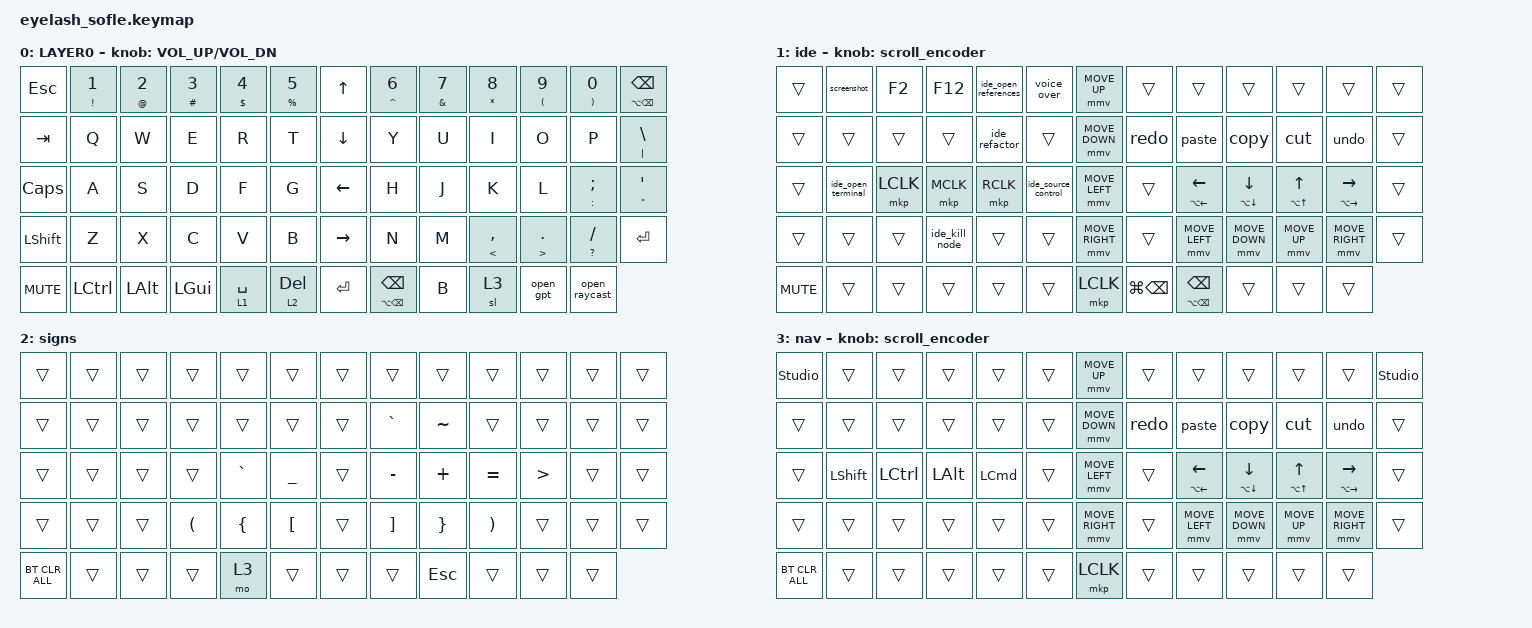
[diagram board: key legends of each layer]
#define ZMK_POINTING_DEFAULT_MOVE_VAL 1200  // 600
#define ZMK_POINTING_DEFAULT_SCRL_VAL 25   // 10

#include <input/processors.dtsi>
#include <zephyr/dt-bindings/input/input-event-codes.h>
#include <behaviors.dtsi>
#include <dt-bindings/zmk/bt.h>
#include <dt-bindings/zmk/keys.h>
#include <dt-bindings/zmk/pointing.h>

&mmv_input_listener { input-processors = <&zip_xy_scaler 2 1>; };

&msc_input_listener { input-processors = <&zip_scroll_scaler 2 1>; };

&msc {
    acceleration-exponent = <1>;      // 0
    time-to-max-speed-ms = <100>;       // 300
    delay-ms = <0>;                   // 0
};

&mmv {
    time-to-max-speed-ms = <500>;
    acceleration-exponent = <1>;
    trigger-period-ms = <16>;
};

&mt {
    tapping-term-ms = <190>;
    flavor = "tap-preferred";
    hold-trigger-on-release;
    quick-tap-ms = <130>;
};

&lt {
    tapping-term-ms = <170>;
    quick-tap-ms = <130>;
    hold-trigger-on-release;
};

/ {
    scroll_encoder: scroll_encoder {
        compatible = "zmk,behavior-sensor-rotate";
        #sensor-binding-cells = <0>;
        bindings = <&msc SCRL_DOWN>, <&msc SCRL_UP>;

        tap-ms = <100>;
    };

    hml: hml {
        compatible = "zmk,behavior-hold-tap";
        label = "HML";
        bindings = <&kp>, <&kp>;

        #binding-cells = <2>;
        tapping-term-ms = <200>;
        quick-tap-ms = <130>;
        flavor = "tap-preferred";
        hold-trigger-key-positions = <7 8 9 10 11 12 20 21 22 23 24 25 33 34 35 36 37 38 46 47 48 49 50 51 60 61 62 63 59 32 58 19 45 6>;
        hold-trigger-on-release;
    };

    hmr: hmr {
        compatible = "zmk,behavior-hold-tap";
        label = "HMR";
        bindings = <&kp>, <&kp>;

        #binding-cells = <2>;
        hold-trigger-key-positions = <0 1 2 3 4 5 6 13 14 15 16 17 18 19 26 27 28 29 30 31 32 39 40 41 42 43 44 45 52 53 54 55 56 57 58>;
        hold-trigger-on-release;
        tapping-term-ms = <200>;
        quick-tap-ms = <130>;
        flavor = "tap-preferred";
    };

    OSM: OSM {
        compatible = "zmk,behavior-sticky-key";
        label = "OSM";
        bindings = <&kp>;
        #binding-cells = <1>;
        release-after-ms = <200>;
        quick-release;
    };

    tdh: tdh {
        compatible = "zmk,behavior-hold-tap";
        label = "TDH";
        bindings = <&kp>, <&kp>;

        #binding-cells = <2>;
        tapping-term-ms = <350>;
        require-prior-idle-ms = <50>;
        quick-tap-ms = <200>;
        flavor = "tap-preferred";
    };

    td_shift: td_shift {
        compatible = "zmk,behavior-tap-dance";
        label = "TD_SHIFT";
        #binding-cells = <0>;
        bindings = <&kp LEFT_SHIFT>, <&caps_word>;

        tapping-term-ms = <350>;
    };

    combos {
        compatible = "zmk,combos";

        mt_equal {
            bindings = <&mt PLUS EQUAL>;
            key-positions = <11 12>;
            layers = <0>;
        };

        mt_minus {
            bindings = <&mt UNDERSCORE MINUS>;
            key-positions = <11 10>;
            layers = <0>;
        };

        backtick {
            bindings = <&kp GRAVE>;
            key-positions = <1 0>;
            layers = <0>;
        };

        caps_word_shift {
            bindings = <&caps_word>;
            key-positions = <39 40>;
        };

        enter {
            bindings = <&kp ENTER>;
            key-positions = <36 37>;
        };
    };

    behaviors {
    };

    macros {
        ide_refactor: ide_refactor {
            compatible = "zmk,behavior-macro";
            #binding-cells = <0>;
            bindings = <&kp LS(LC(R))>;
            label = "IDE_REFACTOR";
        };

        ide_kill_node: ide_kill_node {
            compatible = "zmk,behavior-macro";
            #binding-cells = <0>;
            bindings = <&kp LC(C)>;
            label = "IDE_KILL_NODE";
        };

        voice_over: voice_over {
            compatible = "zmk,behavior-macro";
            #binding-cells = <0>;
            bindings = <&kp LG(F5)>;
            label = "VOICE_OVER";
        };

        ide_source_control: ide_soure {
            compatible = "zmk,behavior-macro";
            #binding-cells = <0>;
            bindings = <&kp LS(LC(G))>;
            label = "IDE_SOURE";
        };

        ide_open_terminal: ide_open_terminal {
            compatible = "zmk,behavior-macro";
            #binding-cells = <0>;
            bindings = <&kp LC(GRAVE)>;
            label = "IDE_OPEN_TERMINAL";
        };

        ide_open_references: ide_open_references {
            compatible = "zmk,behavior-macro";
            #binding-cells = <0>;
            bindings = <&kp LS(F11)>;
            label = "IDE_OPEN_REFERENCES";
        };

        open_raycast: open_raycast {
            compatible = "zmk,behavior-macro";
            #binding-cells = <0>;
            bindings = <&kp LA(SPACE)>;
            label = "OPEN_RAYCAST";
        };

        open_gpt: open_gpt {
            compatible = "zmk,behavior-macro";
            #binding-cells = <0>;
            bindings = <&kp LA(LG(SPACE))>;
            label = "OPEN_GPT";
        };

        paste: paste {
            compatible = "zmk,behavior-macro";
            #binding-cells = <0>;
            bindings = <&kp LG(V)>;
            label = "PASTE";
        };

        copy: copy {
            compatible = "zmk,behavior-macro";
            #binding-cells = <0>;
            bindings = <&kp LG(C)>;
            label = "COPY";
        };

        cut: cut {
            compatible = "zmk,behavior-macro";
            #binding-cells = <0>;
            bindings = <&kp LG(X)>;
            label = "CUT";
        };

        undo: undo {
            compatible = "zmk,behavior-macro";
            #binding-cells = <0>;
            bindings = <&kp LG(Z)>;
            label = "UNDO";
        };

        redo: redo {
            compatible = "zmk,behavior-macro";
            #binding-cells = <0>;
            bindings = <&kp LG(LS(Z))>;
            label = "REDO";
        };

        screenshot: screenshot {
            compatible = "zmk,behavior-macro";
            #binding-cells = <0>;
            bindings = <&kp LG(LS(NUMBER_4))>;
            label = "SCREENSHOT";
        };
    };

    keymap {
        compatible = "zmk,keymap";

        layer0 {
            bindings = <
&kp ESCAPE      &hml EXCL NUMBER_1  &hml AT_SIGN NUMBER_2  &hml HASH NUMBER_3  &hml DOLLAR NUMBER_4  &hml PERCENT N5    &kp UP_ARROW     &hmr CARET NUMBER_6          &hmr AMPERSAND N7  &hmr ASTERISK N8     &hmr LEFT_PARENTHESIS N9  &hmr RIGHT_PARENTHESIS N0  &mt LA(BACKSPACE) BACKSPACE
&kp TAB         &kp Q               &kp W                  &kp E               &kp R                 &kp T              &kp DOWN_ARROW   &kp Y                        &kp U              &kp I                &kp O                     &kp P                      &mt PIPE BACKSLASH
&kp CAPS        &kp A               &kp S                  &kp D               &kp F                 &kp G              &kp LEFT_ARROW   &kp H                        &kp J              &kp K                &kp L                     &mt COLON SEMI             &mt DOUBLE_QUOTES SINGLE_QUOTE
&kp LEFT_SHIFT  &kp Z               &kp X                  &kp C               &kp V                 &kp B              &kp RIGHT_ARROW  &kp N                        &kp M              &mt LESS_THAN COMMA  &mt GREATER_THAN DOT      &mt QUESTION FSLH          &kp RET
&kp C_MUTE      &kp LCTRL           &kp LEFT_ALT           &kp LEFT_GUI        &lt 1 SPACE           &lt 2 DELETE       &kp ENTER        &mt LA(BACKSPACE) BACKSPACE  &kp B              &sl 3                &open_gpt                 &open_raycast
            >;

            sensor-bindings = <&inc_dec_kp C_VOLUME_UP C_VOL_DN>;
            display-name = "LAYER0";
        };

        ide {
            bindings = <
&trans      &screenshot         &kp F2     &kp F12         &ide_open_references  &voice_over            &mmv MOVE_UP     &trans             &trans                         &trans             &trans                     &trans               &trans
&trans      &trans              &trans     &trans          &ide_refactor         &trans                 &mmv MOVE_DOWN   &redo              &paste                         &copy              &cut                       &undo                &trans
&trans      &ide_open_terminal  &mkp LCLK  &mkp MCLK       &mkp RCLK             &ide_source_control    &mmv MOVE_LEFT   &trans             &mt LA(LEFT_ARROW) LEFT_ARROW  &mt LA(DOWN) DOWN  &mt LA(UP_ARROW) UP_ARROW  &mt LA(RIGHT) RIGHT  &trans
&trans      &trans              &trans     &ide_kill_node  &trans                &trans                 &mmv MOVE_RIGHT  &trans             &mmv MOVE_LEFT                 &mmv MOVE_DOWN     &mmv MOVE_UP               &mmv MOVE_RIGHT      &trans
&kp C_MUTE  &trans              &trans     &trans          &trans                &trans                 &mkp LCLK        &kp LG(BACKSPACE)  &mt LA(BACKSPACE) BACKSPACE    &trans             &trans                     &trans
            >;

            sensor-bindings = <&scroll_encoder>;
        };

        signs {
            bindings = <
&trans          &trans  &trans  &trans                &trans          &trans              &trans  &trans             &trans           &trans                 &trans            &trans  &trans
&trans          &trans  &trans  &trans                &trans          &trans              &trans  &kp GRAVE          &kp TILDE        &trans                 &trans            &trans  &trans
&trans          &trans  &trans  &trans                &kp GRAVE       &kp UNDERSCORE      &trans  &kp MINUS          &kp PLUS         &kp EQUAL              &kp GREATER_THAN  &trans  &trans
&trans          &trans  &trans  &kp LEFT_PARENTHESIS  &kp LEFT_BRACE  &kp LEFT_BRACKET    &trans  &kp RIGHT_BRACKET  &kp RIGHT_BRACE  &kp RIGHT_PARENTHESIS  &trans            &trans  &trans
&bt BT_CLR_ALL  &trans  &trans  &trans                &mo 3           &trans              &trans  &trans             &kp ESC          &trans                 &trans            &trans
            >;
        };

        nav {
            bindings = <
&studio_unlock  &trans          &trans            &trans        &trans            &trans    &mmv MOVE_UP     &trans  &trans                         &trans             &trans                     &trans               &studio_unlock
&trans          &trans          &trans            &trans        &trans            &trans    &mmv MOVE_DOWN   &redo   &paste                         &copy              &cut                       &undo                &trans
&trans          &kp LEFT_SHIFT  &kp LEFT_CONTROL  &kp LEFT_ALT  &kp LEFT_COMMAND  &trans    &mmv MOVE_LEFT   &trans  &mt LA(LEFT_ARROW) LEFT_ARROW  &mt LA(DOWN) DOWN  &mt LA(UP_ARROW) UP_ARROW  &mt LA(RIGHT) RIGHT  &trans
&trans          &trans          &trans            &trans        &trans            &trans    &mmv MOVE_RIGHT  &trans  &mmv MOVE_LEFT                 &mmv MOVE_DOWN     &mmv MOVE_UP               &mmv MOVE_RIGHT      &trans
&bt BT_CLR_ALL  &trans          &trans            &trans        &trans            &trans    &mkp LCLK        &trans  &trans                         &trans             &trans                     &trans
            >;

            label = "nav";
            sensor-bindings = <&scroll_encoder>;
        };
    };
};
